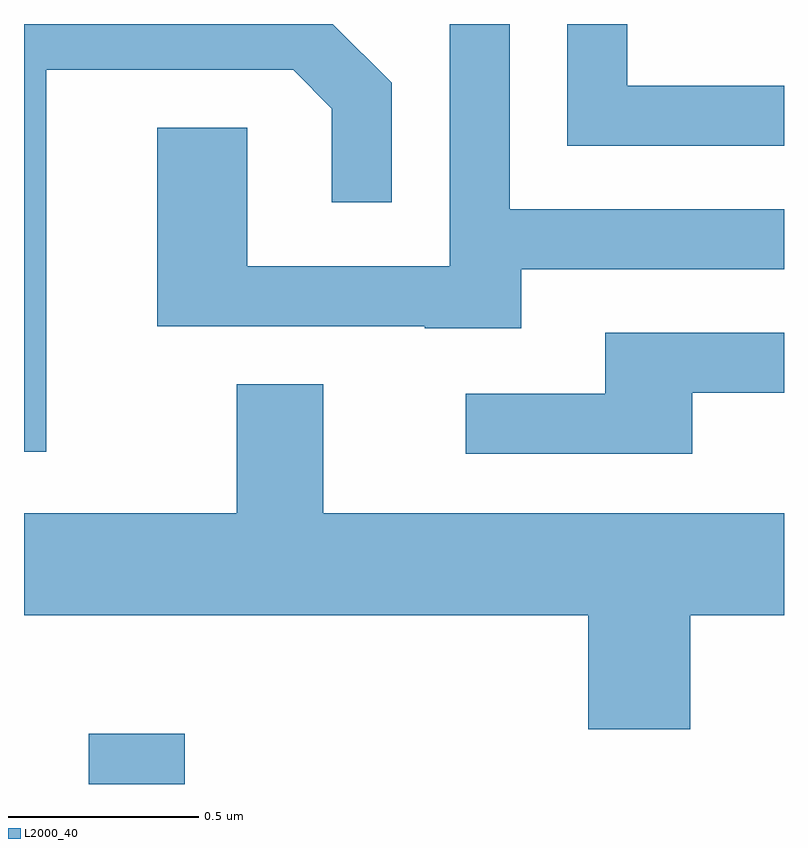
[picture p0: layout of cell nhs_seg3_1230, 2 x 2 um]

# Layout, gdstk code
import gdstk
lib = gdstk.Library(unit=1e-6, precision=1e-09)
def R(c, l, rs):  # rectangles x0, y0, x1, y1
    for r in rs: c.add(gdstk.rectangle(r[:2], r[2:], *l))
def P(c, l, *ps):  # polygons
    for p in ps: c.add(gdstk.Polygon(p, *l))
L2000_40 = (2000, 40)

nhs_seg3_1230 = lib.new_cell('nhs_seg3_1230')
R(nhs_seg3_1230, L2000_40, [(193.781,1249.892,194.034,1250.024)])
P(nhs_seg3_1230, L2000_40, [(193.669,1251.771),(194.319,1251.771),(194.421,1251.669),(194.421,1251.423),(194.579,1251.423),(194.579,1251.737),(194.424,1251.892),(193.611,1251.892),(193.611,1250.766),(193.669,1250.766)],
  [(194.919,1251.246),(195.611,1251.246),(195.611,1251.404),(194.889,1251.404),(194.889,1251.892),(194.731,1251.892),(194.731,1251.254),(194.199,1251.254),(194.199,1251.619),(193.961,1251.619),(193.961,1251.096),(194.665,1251.096),(194.665,1251.091),(194.919,1251.091)],
  [(195.611,1251.729),(195.199,1251.729),(195.199,1251.892),(195.041,1251.892),(195.041,1251.571),(195.611,1251.571)],
  [(195.369,1250.921),(195.611,1250.921),(195.611,1251.079),(195.141,1251.079),(195.141,1250.919),(194.773,1250.919),(194.773,1250.761),(195.369,1250.761)],
  [(195.364,1250.336),(195.611,1250.336),(195.611,1250.604),(194.399,1250.604),(194.399,1250.944),(194.171,1250.944),(194.171,1250.604),(193.611,1250.604),(193.611,1250.336),(195.096,1250.336),(195.096,1250.036),(195.364,1250.036)])

lib.write_gds('nhs_seg3_1230.gds')
